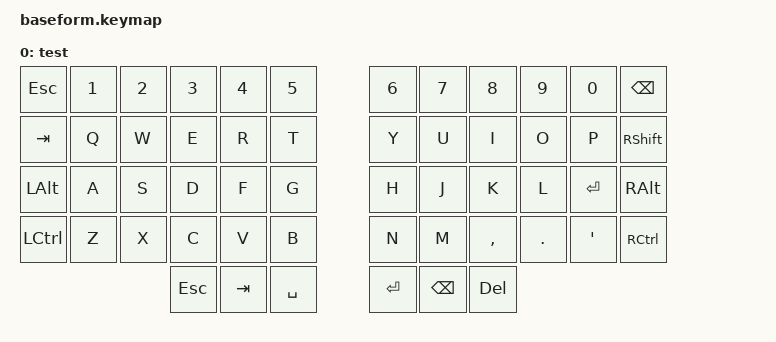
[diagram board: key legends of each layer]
#include <behaviors.dtsi>
#include <dt-bindings/zmk/keys.h>
#include <dt-bindings/zmk/bt.h>
#include <dt-bindings/zmk/ext_power.h>
#include <dt-bindings/zmk/outputs.h>

#define TST 0

/ {
  keymap {
    compatible = "zmk,keymap";

    test {
      display-name = "test";
      bindings = <
        &kp ESC        &kp N1          &kp N2       &kp N3         &kp N4           &kp N5               &kp N6          &kp N7
         &kp N8        &kp N9       &kp N0          &kp BSPC
        &kp TAB        &kp Q           &kp W        &kp E          &kp R            &kp T                &kp Y           &kp U
         &kp I         &kp O        &kp P           &kp RSHFT
        &kp LALT       &kp A           &kp S        &kp D          &kp F            &kp G                &kp H           &kp J
         &kp K         &kp L        &kp RET         &kp RALT
        &kp LCTRL      &kp Z           &kp X        &kp C          &kp V            &kp B                &kp N           &kp M
         &kp COMMA     &kp DOT      &kp APOS        &kp RCTRL
                                                    &kp ESC        &kp TAB          &kp SPACE            &kp RET         &kp BSPC     &kp DEL
      >;
    };
  };
};
